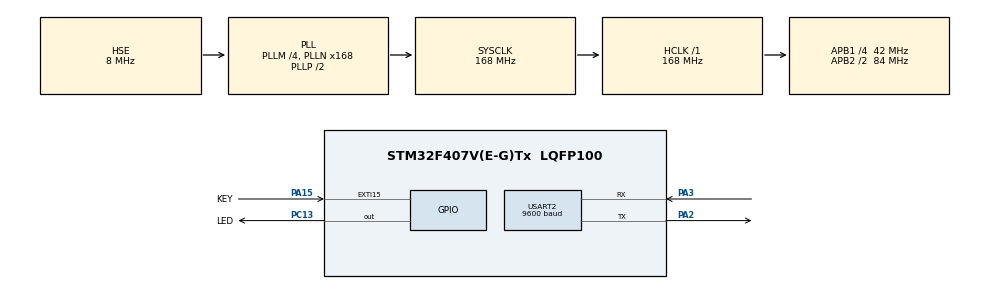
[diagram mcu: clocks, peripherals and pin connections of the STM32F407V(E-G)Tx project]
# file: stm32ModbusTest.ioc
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Mcu.Family=STM32F4
Mcu.Name=STM32F407V(E-G)Tx
Mcu.Package=LQFP100
NVIC.PriorityGroup=NVIC_PRIORITYGROUP_4
NVIC.TIM8_TRG_COM_TIM14_IRQn=true\:2\:0\:true\:false\:true\:true\:true\:true
NVIC.USART2_IRQn=true\:1\:0\:true\:false\:true\:true\:true\:true
PA13.Mode=Serial_Wire
PA13.Signal=SYS_JTMS-SWDIO
PA14.Mode=Serial_Wire
PA14.Signal=SYS_JTCK-SWCLK
PA15.GPIO_Label=KEY
PA15.GPIO_ModeDefaultEXTI=GPIO_MODE_IT_FALLING
PA15.GPIO_PuPd=GPIO_PULLUP
PA15.Signal=GPXTI15
PA2.Mode=Asynchronous
PA2.Signal=USART2_TX
PA3.Mode=Asynchronous
PA3.Signal=USART2_RX
PC13-ANTI_TAMP.GPIO_Label=LED
PC13-ANTI_TAMP.Signal=GPIO_Output
PH0-OSC_IN.Mode=HSE-External-Oscillator
PH0-OSC_IN.Signal=RCC_OSC_IN
PH1-OSC_OUT.Mode=HSE-External-Oscillator
PH1-OSC_OUT.Signal=RCC_OSC_OUT
ProjectManager.HeapSize=0x200
ProjectManager.StackSize=0x400
ProjectManager.TargetToolchain=MDK-ARM V5.32
RCC.48MHZClocksFreq_Value=84000000
RCC.AHBFreq_Value=168000000
RCC.APB1CLKDivider=RCC_HCLK_DIV4
RCC.APB1Freq_Value=42000000
RCC.APB1TimFreq_Value=84000000
RCC.APB2CLKDivider=RCC_HCLK_DIV2
RCC.APB2Freq_Value=84000000
RCC.APB2TimFreq_Value=168000000
RCC.CortexFreq_Value=168000000
RCC.HCLKFreq_Value=168000000
RCC.HSE_VALUE=8000000
RCC.HSI_VALUE=16000000
RCC.LSE_VALUE=32768
RCC.PLLM=4
RCC.PLLN=168
RCC.PLLSourceVirtual=RCC_PLLSOURCE_HSE
RCC.SYSCLKFreq_VALUE=168000000
RCC.SYSCLKSource=RCC_SYSCLKSOURCE_PLLCLK
RCC.VCOOutputFreq_Value=336000000
TIM14.AutoReloadPreload=TIM_AUTORELOAD_PRELOAD_ENABLE
TIM14.Period=4000-1
TIM14.Prescaler=84-1
USART2.BaudRate=9600
USART2.VirtualMode=VM_ASYNC
VP_TIM14_VS_ClockSourceINT.Mode=Enable_Timer
board=custom

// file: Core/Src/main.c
/* USER CODE BEGIN Header */
/**
  ******************************************************************************
  * @file           : main.c
  * @brief          : Main program body
  ******************************************************************************
  * @attention
  *
  * Copyright (c) 2023 STMicroelectronics.
  * All rights reserved.
  *
  * This software is licensed under terms that can be found in the LICENSE file
  * in the root directory of this software component.
  * If no LICENSE file comes with this software, it is provided AS-IS.
  *
  ******************************************************************************
  */
/* USER CODE END Header */
#include "main.h"
#include "tim.h"
#include "usart.h"
#include "gpio.h"

/* USER CODE BEGIN Includes */
#include <stdio.h>
#include <string.h>
#include <stdlib.h>
#include "mbrtu_master.h"
/* USER CODE END Includes */

/* USER CODE BEGIN PV */
uint8_t g_Uart2RxByte;
uint16_t laserDis[3][1];
uint16_t laserOpen[2]={1,1};
uint16_t laserClose[2]={0,0};
int respon;

/* USER CODE END PV */

void SystemClock_Config(void);

int main(void)
{

  /* MCU Configuration--------------------------------------------------------*/

  /* Reset of all peripherals, Initializes the Flash interface and the Systick. */
  HAL_Init();

  /* Configure the system clock */
  SystemClock_Config();

  /* Initialize all configured peripherals */
  MX_GPIO_Init();
  MX_USART2_UART_Init();
  MX_TIM14_Init();
  /* USER CODE BEGIN 2 */
	__HAL_TIM_CLEAR_FLAG(&htim14, TIM_FLAG_UPDATE);
  HAL_UART_Receive_IT(&huart2, &g_Uart2RxByte, 1);
	HAL_TIM_Base_Start_IT(&htim14);
  /* USER CODE END 2 */

  /* Infinite loop */
  /* USER CODE BEGIN WHILE */
  while (1)
  {
		//050300010002944F
		//050300020001244E打开激光
		//050300020000E58E关闭激光
		respon = MBRTUMasterReadHoldingRegisters(&MBRTUHandle, 5, 1, 1, 500, laserDis[0]);
    HAL_Delay(800);
//		respon = MBRTUMasterReadHoldingRegisters(&MBRTUHandle, 5, 2, 1, 500, laserClose);
//		HAL_Delay(1000);
//		respon = MBRTUMasterReadHoldingRegisters(&MBRTUHandle, 5, 2, 0, 500, laserOpen);
//		HAL_Delay(1000);
//		MBRTUMasterReadHoldingRegisters(&MBRTUHandle, 5, 1, 1, 500, laserDis[1]);
//    HAL_Delay(200);
//		MBRTUMasterReadHoldingRegisters(&MBRTUHandle, 6, 1, 1, 500, laserDis[2]);
//    HAL_Delay(200);
    /* USER CODE END WHILE */

  }
}

void SystemClock_Config(void)
{
  RCC_OscInitTypeDef RCC_OscInitStruct = {0};
  RCC_ClkInitTypeDef RCC_ClkInitStruct = {0};

  /** Configure the main internal regulator output voltage
  */
  __HAL_RCC_PWR_CLK_ENABLE();
  __HAL_PWR_VOLTAGESCALING_CONFIG(PWR_REGULATOR_VOLTAGE_SCALE1);

  /** Initializes the RCC Oscillators according to the specified parameters
  * in the RCC_OscInitTypeDef structure.
  */
  RCC_OscInitStruct.OscillatorType = RCC_OSCILLATORTYPE_HSE;
  RCC_OscInitStruct.HSEState = RCC_HSE_ON;
  RCC_OscInitStruct.PLL.PLLState = RCC_PLL_ON;
  RCC_OscInitStruct.PLL.PLLSource = RCC_PLLSOURCE_HSE;
  RCC_OscInitStruct.PLL.PLLM = 4;
  RCC_OscInitStruct.PLL.PLLN = 168;
  RCC_OscInitStruct.PLL.PLLP = RCC_PLLP_DIV2;
  RCC_OscInitStruct.PLL.PLLQ = 4;
  if (HAL_RCC_OscConfig(&RCC_OscInitStruct) != HAL_OK)
  {
    Error_Handler();
  }

  /** Initializes the CPU, AHB and APB buses clocks
  */
  RCC_ClkInitStruct.ClockType = RCC_CLOCKTYPE_HCLK|RCC_CLOCKTYPE_SYSCLK
                              |RCC_CLOCKTYPE_PCLK1|RCC_CLOCKTYPE_PCLK2;
  RCC_ClkInitStruct.SYSCLKSource = RCC_SYSCLKSOURCE_PLLCLK;
  RCC_ClkInitStruct.AHBCLKDivider = RCC_SYSCLK_DIV1;
  RCC_ClkInitStruct.APB1CLKDivider = RCC_HCLK_DIV4;
  RCC_ClkInitStruct.APB2CLKDivider = RCC_HCLK_DIV2;

  if (HAL_RCC_ClockConfig(&RCC_ClkInitStruct, FLASH_LATENCY_5) != HAL_OK)
  {
    Error_Handler();
  }
}

/* USER CODE BEGIN 4 */

void HAL_UART_RxCpltCallback(UART_HandleTypeDef *huart)
{
    if(huart->Instance == huart2.Instance)
    {
        MBRTUMasterRecvByteISRCallback(&MBRTUHandle, g_Uart2RxByte);
        HAL_UART_Receive_IT(&huart2, &g_Uart2RxByte, 1);  // 注册接收

    }
}

void HAL_TIM_PeriodElapsedCallback(TIM_HandleTypeDef *htim)
{
    if(htim->Instance == htim14.Instance)
    {
			MBRTUMasterTimerISRCallback(&MBRTUHandle);
    }
}
/* USER CODE END 4 */

void Error_Handler(void)
{
  __disable_irq();
  while (1)
  {
  }
}
